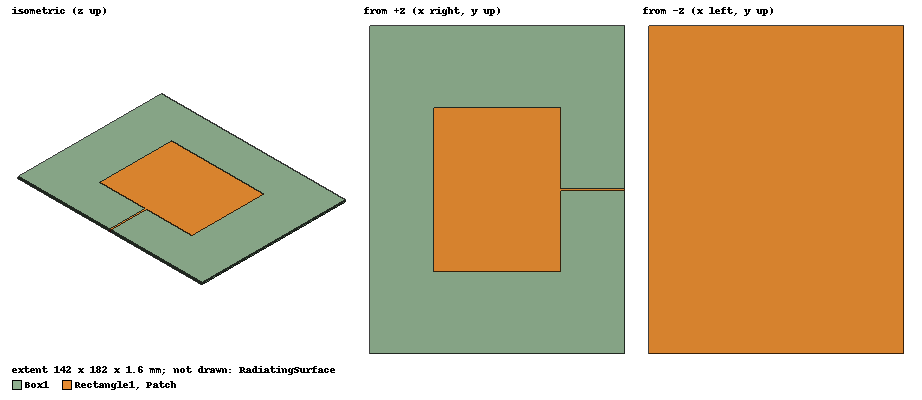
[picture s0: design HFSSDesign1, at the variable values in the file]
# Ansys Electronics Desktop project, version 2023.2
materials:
  vacuum: permittivity=1
  FR4_epoxy: permittivity=4.4 dielectric_loss_tangent=0.02

design HFSSDesign1 (HFSS, HFSS Terminal Network, model units mm)
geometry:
  Rectangle1 = rectangle(corner=(-71mm, -91mm, 0mm), x_size=142mm, y_size=182mm)
  Box1 [FR4_epoxy] = box(corner=(-71mm, -91mm, 0mm), size=(142mm, 182mm, 1.6mm))
  Rectangle2 = rectangle(corner=(-35.5mm, -45.5mm, 1.6mm), x_size=71mm, y_size=91mm)
  Patch = rectangle(corner=(0mm, -0.75mm, 1.6mm), x_size=71mm, y_size=1.5mm)
  Patch.unite(Rectangle2)
  Port = rectangle(corner=(71mm, -0.75mm, 1.6mm), y_size=1.5mm, z_size=-1.6mm)
  RadiatingSurface [vacuum] = region(absolute_offset=100mm on all sides)
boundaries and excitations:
  PerfE1: Perfect E Objects=Rectangle1
  PerfE2: Perfect E Objects=Patch
  Open1: Radiation Objects=RadiatingSurface
  1: Lumped Port Objects=Port LumpedPortType=Modal Modes{Mode1{IntLine{(71, -0.2, 0) -> (71, -0.2, 1.6)} CharImp=Zpi}} Impedance=50ohm
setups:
  Setup1: HfssDriven Frequency=1GHz MaxDeltaS=0.02 MaximumPasses=10 MinimumPasses=1 MinimumConvergedPasses=1 PercentRefinement=30 BasisOrder=1 PortAccuracy=2 DrivenSolverType="Direct Solver"
    sweep Sweep: 0.5GHz to 1.5GHz, 401 points; Type=Interpolating InterpTolerance=0.5 InterpMaxSolns=250 PassivityErrorTolerance=0.0001
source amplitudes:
  1:1: 1V 0deg
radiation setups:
  3D: Infinite Sphere Theta=0deg..180deg step 2deg Phi=-180deg..180deg step 2deg
  Elevation: Infinite Sphere Theta=-180deg..180deg step 1deg Phi=0deg..90deg step 90deg
  Azimuth: Infinite Sphere Theta=90deg..90deg step 0deg Phi=-180deg..180deg step 1deg
